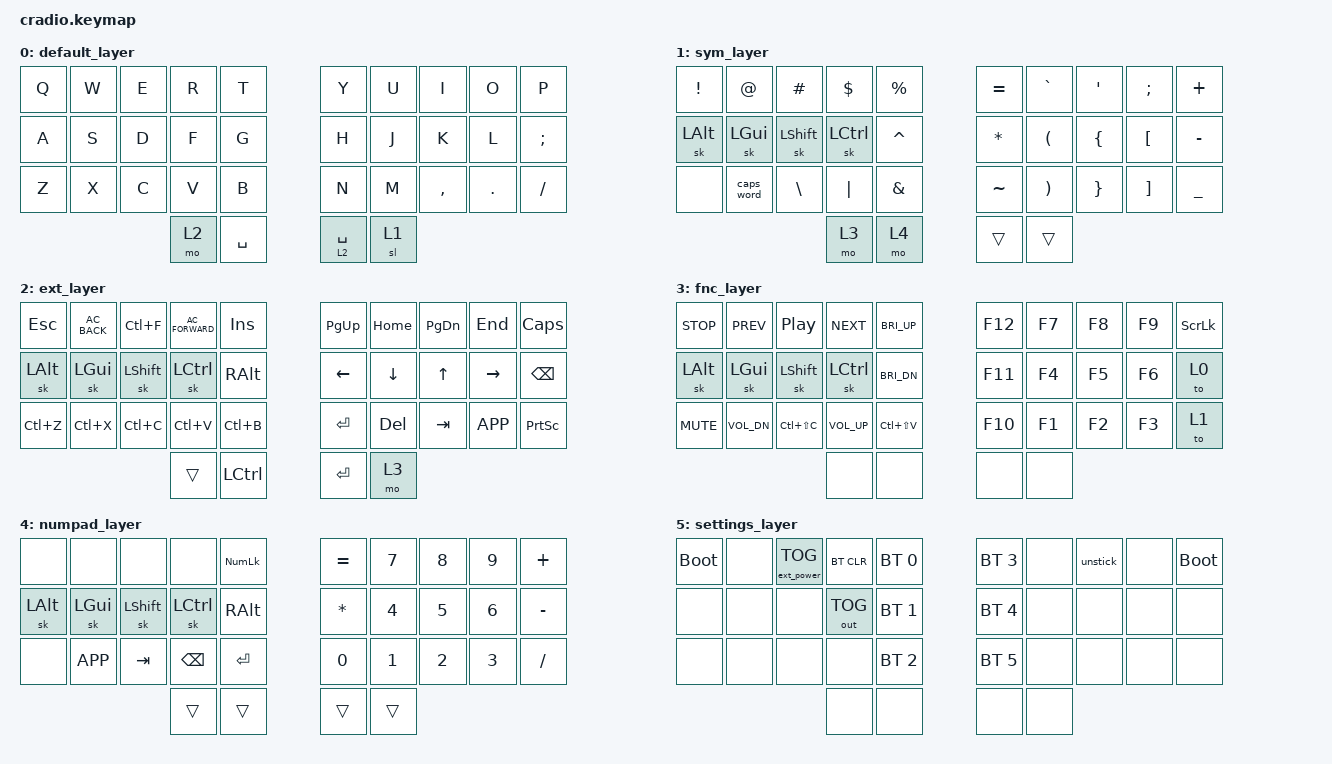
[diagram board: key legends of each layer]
/*
 * Copyright (c) 2020 The ZMK Contributors
 *
 * SPDX-License-Identifier: MIT
 */

#include <behaviors.dtsi>
#include <dt-bindings/zmk/bt.h>
#include <dt-bindings/zmk/ext_power.h>
#include <dt-bindings/zmk/keys.h>
#include <dt-bindings/zmk/outputs.h>

// Layer definitions

#define BASE 0
#define SYM 1
#define EXT 2
#define FNC 3
#define SYM2 4
#define ACCENT 5
#define SETTINGS 6

// -----------------

&mt {
    //  flavor = "tap-preferred";
    // tapping_term_ms = <200>;
};

&sk { ignore-modifiers; };

/ {
    macros {
        // sometimes my device thinks a modifier is being held down
        // pressing all modifiers fixes it.

        unstick: unstick {
            label = "ZM_unstick";
            compatible = "zmk,behavior-macro";
            #binding-cells = <0>;
            bindings = <&kp LSHIFT &kp RSHIFT &kp LCTRL &kp RCTRL &kp LALT &kp RALT &kp LGUI &kp RGUI>;
        };
    };

    combos {
        compatible = "zmk,combos";

        // both right thumb keys

        combo_accent {
            timeout-ms = <300>;
            key-positions = <32 33>;
            bindings = <&mo 0>;
        };

        // internal-left & external-right thumb keys

        combo_sym2 {
            timeout-ms = <200>;
            key-positions = <31 33>;
            bindings = <&mo 4>;
        };

        // both left thumb keys

        combo_settings {
            timeout-ms = <300>;
            key-positions = <30 31>;
            bindings = <&mo 5>;
        };
    };

    keymap {
        compatible = "zmk,keymap";

        // Base alpha layer

        default_layer {

            bindings = <
&kp Q  &kp W  &kp E  &kp R  &kp T               &kp Y      &kp U  &kp I      &kp O    &kp P
&kp A  &kp S  &kp D  &kp F  &kp G               &kp H      &kp J  &kp K      &kp L    &kp SEMI
&kp Z  &kp X  &kp C  &kp V  &kp B               &kp N      &kp M  &kp COMMA  &kp DOT  &kp SLASH
                     &mo 2  &kp SPACE           &lt 2 SPACE  &sl 1
            >;
        };

        sym_layer {
            bindings = <
&kp EXCL  &kp AT      &kp HASH   &kp DLLR   &kp PRCNT    &kp EQUAL &kp GRAVE &kp SQT   &kp SEMI &kp PLUS
&sk LALT  &sk LGUI    &sk LSHIFT &sk LCTRL  &kp CARET    &kp ASTRK &kp LPAR  &kp LBRC  &kp LBKT &kp MINUS
&none     &caps_word  &kp BSLH   &kp PIPE   &kp AMPS     &kp TILDE &kp RPAR  &kp RBRC  &kp RBKT &kp UNDER
                               &mo 3      &mo 4        &trans    &trans
            >;
        };

        // Main modifiers and arrow keys

        ext_layer {
            bindings = <
&kp ESC    &kp C_AC_BACK &kp LC(F)   &kp C_AC_FORWARD &kp INS          &kp PG_UP &kp HOME  &kp PG_DN  &kp END   &kp CAPS
&sk LALT   &sk LGUI      &sk LSHIFT  &sk LCTRL        &kp RALT         &kp LEFT  &kp DOWN  &kp UP     &kp RIGHT &kp BSPC
&kp LC(Z)  &kp LC(X)     &kp LC(C)   &kp LC(V)        &kp LC(B)        &kp ENTER &kp DEL   &kp TAB    &kp K_APP &kp PRINTSCREEN
                                  &trans     &kp LCTRL    &kp ENTER     &mo 3
            >;
        };

        // Function keys with modifiers

        fnc_layer {
            bindings = <
&kp C_STOP &kp C_PREV   &kp C_PP      &kp C_NEXT   &kp C_BRI_UP      &kp F12 &kp F7 &kp F8 &kp F9 &kp SLCK
&sk LALT   &sk LGUI     &sk LSHIFT    &sk LCTRL    &kp C_BRI_DN      &kp F11 &kp F4 &kp F5 &kp F6 &to 0
&kp C_MUTE &kp C_VOL_DN &kp LC(LS(C)) &kp C_VOL_UP &kp LC(LS(V))     &kp F10 &kp F1 &kp F2 &kp F3 &to 1
                                      &none        &none             &none          &none
            >;
        };

        numpad_layer {
            bindings = <
&none    &none      &none      &none      &kp KP_NUM    &kp EQUAL &kp N7 &kp N8 &kp N9 &kp PLUS
&sk LALT &sk LGUI   &sk LSHIFT &sk LCTRL  &kp RALT      &kp ASTRK &kp N4 &kp N5 &kp N6 &kp MINUS
&none    &kp K_APP  &kp TAB    &kp BSPC   &kp ENTER     &kp N0    &kp N1 &kp N2 &kp N3 &kp SLASH
                               &trans     &trans        &trans    &trans
            >;
        };

        // Used to change the keyboard's settings.

        settings_layer {
            bindings = <
&bootloader  &none  &ext_power EP_TOG  &bt  BT_CLR    &bt BT_SEL 0    &bt BT_SEL 3  &none  &unstick  &none  &bootloader
&none        &none  &none              &out OUT_TOG   &bt BT_SEL 1    &bt BT_SEL 4  &none  &none     &none  &none
&none        &none  &none              &none          &bt BT_SEL 2    &bt BT_SEL 5  &none  &none     &none  &none
                                       &none          &none           &none         &none
            >;
        };
    };
};
